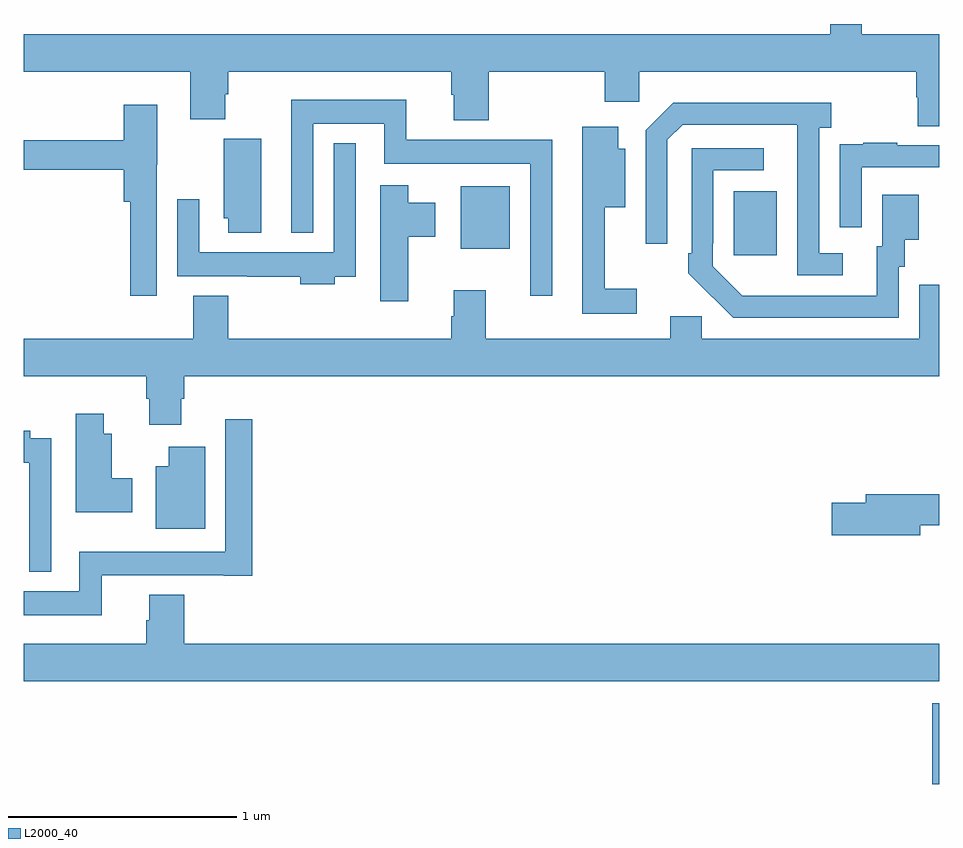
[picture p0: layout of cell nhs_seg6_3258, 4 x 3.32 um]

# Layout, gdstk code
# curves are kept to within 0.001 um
import gdstk
lib = gdstk.Library(unit=1e-6, precision=1e-09)
def R(c, l, rs):  # rectangles x0, y0, x1, y1
    for r in rs: c.add(gdstk.rectangle(r[:2], r[2:], *l))
def P(c, l, *ps):  # polygons
    for p in ps: c.add(gdstk.Polygon(p, *l))
L2000_40 = (2000, 40)

nhs_seg6_3258 = lib.new_cell('nhs_seg6_3258')
R(nhs_seg6_3258, L2000_40, [(304.97,988.178,305,988.531), (304.103,990.489,304.291,990.769), (302.909,990.518,303.124,990.79)])
P(nhs_seg6_3258, L2000_40, [(305,991.456),(304.661,991.456),(304.661,991.5),(304.525,991.5),(304.525,991.456),(301,991.456),(301,991.292),(301.727,991.292),(301.727,991.084),(301.879,991.084),(301.879,991.193),(301.892,991.193),(301.892,991.292),(302.867,991.292),(302.867,991.191),(302.879,991.191),(302.879,991.079),(303.032,991.079),(303.032,991.292),(303.539,991.292),(303.539,991.161),(303.69,991.161),(303.69,991.292),(304.901,991.292),(304.901,991.179),(304.906,991.179),(304.906,991.054),(305,991.054)],
  [(303.31,990.994),(302.672,990.994),(302.672,991.168),(302.168,991.168),(302.168,990.587),(302.265,990.587),(302.265,991.064),(302.574,991.064),(302.574,990.89),(303.213,990.89),(303.213,990.312),(303.31,990.312)],
  [(304.579,990.498),(304.476,990.498),(304.476,991.046),(304.528,991.046),(304.528,991.156),(303.838,991.156),(303.717,991.035),(303.717,990.54),(303.813,990.54),(303.813,990.993),(303.879,991.059),(304.38,991.059),(304.38,990.402),(304.579,990.402)],
  [(301.581,990.885),(301.582,990.885),(301.582,991.147),(301.436,991.147),(301.436,990.991),(301,990.991),(301,990.862),(301.436,990.862),(301.436,990.722),(301.465,990.722),(301.465,990.312),(301.581,990.312)],
  [(303.679,990.343),(303.539,990.343),(303.539,990.698),(303.628,990.698),(303.628,990.955),(303.598,990.955),(303.598,991.051),(303.44,991.051),(303.44,990.234),(303.679,990.234)],
  [(302.038,990.999),(301.874,990.999),(301.874,990.651),(301.892,990.651),(301.892,990.588),(302.038,990.588)],
  [(304.662,990.873),(305,990.873),(305,990.969),(304.817,990.969),(304.817,990.982),(304.669,990.982),(304.669,990.975),(304.567,990.975),(304.567,990.866),(304.566,990.866),(304.566,990.612),(304.662,990.612)],
  [(302.359,990.396),(302.451,990.396),(302.451,990.979),(302.355,990.979),(302.355,990.502),(301.767,990.502),(301.767,990.733),(301.671,990.733),(301.671,990.398),(301.975,990.398),(301.975,990.396),(302.207,990.396),(302.207,990.362),(302.359,990.362)],
  [(304.824,990.438),(304.849,990.438),(304.849,990.557),(304.912,990.557),(304.912,990.754),(304.751,990.754),(304.751,990.528),(304.727,990.528),(304.727,990.312),(304.14,990.313),(304.011,990.441),(304.011,990.541),(304.014,990.541),(304.014,990.861),(304.234,990.861),(304.234,990.957),(303.918,990.957),(303.918,990.499),(303.903,990.499),(303.903,990.411),(304.1,990.216),(304.824,990.216)],
  [(302.68,990.571),(302.797,990.571),(302.797,990.718),(302.68,990.718),(302.68,990.796),(302.558,990.796),(302.558,990.288),(302.68,990.288)],
  [(301.687,989.862),(301.7,989.862),(301.7,989.96),(305,989.96),(305,990.36),(304.913,990.36),(304.913,990.124),(303.963,990.124),(303.963,990.222),(303.824,990.222),(303.824,990.124),(303.019,990.124),(303.019,990.337),(302.879,990.337),(302.879,990.222),(302.867,990.222),(302.867,990.124),(301.892,990.124),(301.892,990.313),(301.739,990.313),(301.739,990.124),(301,990.124),(301,989.96),(301.535,989.96),(301.535,989.862),(301.547,989.862),(301.547,989.748),(301.687,989.748)],
  [(301.474,989.514),(301.384,989.514),(301.384,989.71),(301.348,989.71),(301.348,989.797),(301.226,989.797),(301.226,989.366),(301.474,989.366)],
  [(301.34,989.09),(301.874,989.09),(301.874,989.088),(301.997,989.088),(301.997,989.773),(301.881,989.773),(301.881,989.194),(301.242,989.194),(301.242,989.02),(301,989.02),(301,988.916),(301.34,988.916)],
  [(301.119,989.689),(301.027,989.689),(301.027,989.722),(301,989.722),(301,989.582),(301.023,989.582),(301.023,989.105),(301.119,989.105)],
  [(301.792,989.653),(301.634,989.653),(301.634,989.566),(301.577,989.566),(301.577,989.294),(301.792,989.294)],
  [(304.918,989.308),(305,989.308),(305,989.444),(304.679,989.444),(304.679,989.408),(304.53,989.408),(304.53,989.266),(304.918,989.266)],
  [(305,988.792),(301.7,988.792),(301.7,989.005),(301.547,989.005),(301.547,988.893),(301.535,988.893),(301.535,988.792),(301,988.792),(301,988.628),(305,988.628)])

lib.write_gds('nhs_seg6_3258.gds')
